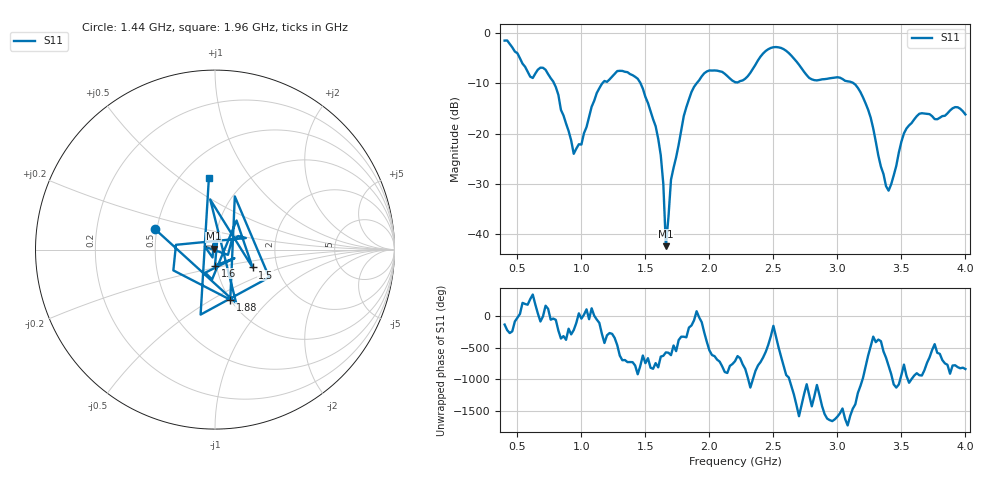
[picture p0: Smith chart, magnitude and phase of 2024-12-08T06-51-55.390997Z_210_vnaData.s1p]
!Created with skrf (http://scikit-rf.org).
# Hz S RI R 50.0
!freq ReS11 ImS11
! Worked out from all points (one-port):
!   181 points, 400 MHz to 4 GHz, reference 50 ohm
!   lowest |S11| = -42.3 dB at 1.66 GHz (marker M1), VSWR 1.02, Z = 49.4 + j0.438 ohm
!   |S11| at or under -10 dB: 786.4 MHz to 1.163 GHz (377 MHz wide, 38.7 % of centre); 1.462 GHz to 1.9 GHz (437.9 MHz wide, 26 % of centre); 3.127 GHz to end of sweep
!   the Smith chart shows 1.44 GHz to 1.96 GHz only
!   S11 on the Smith chart (normalised r, x): 1.44 GHz: 0.49, +0.13; 1.5 GHz: 1.49, -0.31; 1.6 GHz: 0.98, -0.18; 1.88 GHz: 1.00, -0.61; 1.96 GHz: 0.69, +0.65
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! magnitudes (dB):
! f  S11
! 400 MHz  -1.5
! 600 MHz  -8.7
! 720 MHz  -7.3
! 860 MHz  -16.4
! 940 MHz  -24.0
! 1 GHz  -22.1
! 1.14 GHz  -11.0
! 1.3 GHz  -7.5
! 1.44 GHz  -9.1
! 1.5 GHz  -12.7
! 1.6 GHz  -21.0
! 1.64 GHz  -30.0
! 1.66 GHz  -42.3
! 1.7 GHz  -29.1
! 1.76 GHz  -22.2
! 1.8 GHz  -16.5
! 1.88 GHz  -10.7
! 1.96 GHz  -8.0
! 2.2 GHz  -9.8
! 2.48 GHz  -3.0
! 2.66 GHz  -5.1
! 2.8 GHz  -9.2
! 3.1 GHz  -9.7
! 3.24 GHz  -15.2
! 3.4 GHz  -31.3
! 3.56 GHz  -18.3
! 3.66 GHz  -15.9
! 4 GHz  -16.2
